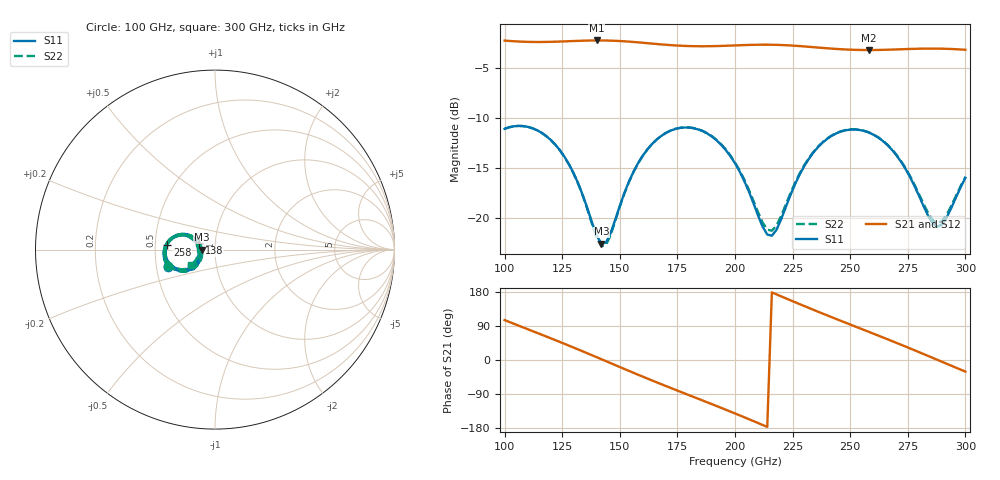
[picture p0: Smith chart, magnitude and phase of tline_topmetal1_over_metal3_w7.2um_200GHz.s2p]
#  GHZ S DB R 50
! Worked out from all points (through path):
!   101 points, 100 GHz to 300 GHz, reference 50 ohm
!   highest |S21| = -2.28 dB at 140 GHz (marker M1); lowest = -3.2 dB at 258 GHz (marker M2)
!   group delay of S21, straight-line fit = 6.89 ps
!   lowest |S11| = -22.6 dB at 142 GHz (marker M3), VSWR 1.16, Z = 43.1 + j0.0323 ohm
!   |S11| at or under -10 dB: start of sweep to end of sweep
!   |S22| runs from -22.8 to -10.8 dB; largest |S21 - S12| = 8.4e-14
!   S11 on the Smith chart (normalised r, x): 100 GHz: 0.58, -0.12; 138 GHz: 0.84, +0.06; 258 GHz: 0.58, +0.03; 300 GHz: 0.76, -0.14
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100  -11.11 -160.2  -2.30 105.3  -2.30 105.3  -11.11 -160.3
116  -11.49 170.0  -2.44 67.0  -2.44 67.0  -11.50 169.8
126  -13.90 154.4  -2.38 42.7  -2.38 42.7  -13.92 154.1
134  -17.77 150.1  -2.31 22.6  -2.31 22.6  -17.85 149.6
138  -20.50 157.7  -2.29 12.4  -2.29 12.4  -20.65 157.1
140  -21.79 166.7  -2.28 7.3  -2.28 7.3  -21.99 166.3
142  -22.57 179.7  -2.28 2.1  -2.28 2.1  -22.83 179.8
146  -21.53 -153.4  -2.30 -8.2  -2.30 -8.2  -21.73 -152.4
154  -16.36 -138.9  -2.40 -28.8  -2.40 -28.8  -16.41 -137.8
168  -11.81 -156.1  -2.68 -63.8  -2.68 -63.8  -11.81 -155.3
184  -11.17 176.1  -2.86 -102.2  -2.86 -102.2  -11.14 177.1
200  -14.55 152.9  -2.78 -141.1  -2.78 -141.1  -14.46 154.4
212  -20.88 165.3  -2.71 -171.4  -2.71 -171.4  -20.47 166.7
216  -21.79 -171.7  -2.71 178.3  -2.71 178.3  -21.29 -171.9
224  -17.76 -143.5  -2.78 157.8  -2.78 157.8  -17.57 -145.0
234  -13.49 -148.2  -2.95 132.5  -2.95 132.5  -13.42 -149.1
246  -11.38 -166.3  -3.16 103.2  -3.16 103.2  -11.35 -166.7
258  -11.47 174.1  -3.24 74.5  -3.24 74.5  -11.44 173.9
268  -13.17 159.7  -3.20 50.3  -3.20 50.3  -13.12 159.8
278  -16.86 154.1  -3.12 25.5  -3.12 25.5  -16.73 154.6
288  -20.88 -176.2  -3.10 0.0  -3.10 0.0  -20.52 -176.9
300  -16.00 -145.9  -3.21 -30.6  -3.21 -30.6  -15.91 -147.8
